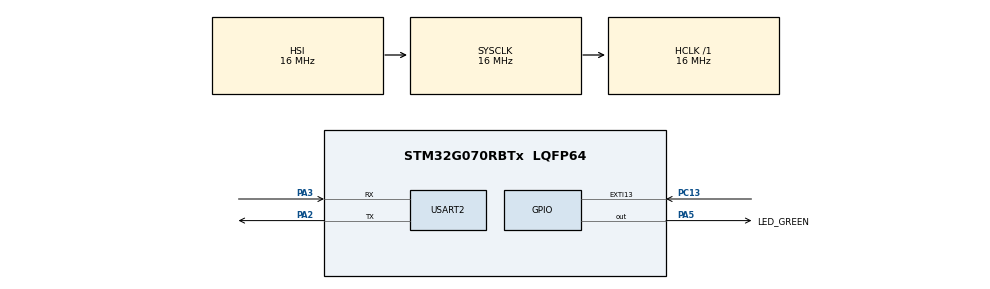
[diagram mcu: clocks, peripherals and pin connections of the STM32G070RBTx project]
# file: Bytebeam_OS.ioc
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Mcu.Family=STM32G0
Mcu.Name=STM32G070RBTx
Mcu.Package=LQFP64
NVIC.EXTI4_15_IRQn=true\:0\:0\:false\:false\:true\:true\:true\:true
PA13.GPIO_Label=TMS
PA13.Mode=Serial_Wire
PA13.Signal=SYS_SWDIO
PA14-BOOT0.GPIO_Label=TCK
PA14-BOOT0.Mode=Serial_Wire
PA14-BOOT0.Signal=SYS_SWCLK
PA2.GPIO_PuPd=GPIO_PULLUP
PA2.Mode=Asynchronous
PA2.Signal=USART2_TX
PA3.GPIO_PuPd=GPIO_PULLUP
PA3.Mode=Asynchronous
PA3.Signal=USART2_RX
PA5.GPIO_Label=LED_GREEN
PA5.GPIO_Speed=GPIO_SPEED_FREQ_HIGH
PA5.Signal=GPIO_Output
PC13.GPIO_ModeDefaultEXTI=GPIO_MODE_IT_FALLING
PC13.Signal=GPXTI13
PC14-OSC32_IN\ (PC14).Mode=LSE-External-Oscillator
PC14-OSC32_IN\ (PC14).Signal=RCC_OSC32_IN
PC15-OSC32_OUT\ (PC15).Mode=LSE-External-Oscillator
PC15-OSC32_OUT\ (PC15).Signal=RCC_OSC32_OUT
PF0-OSC_IN\ (PF0).GPIO_Label=MCO
PF0-OSC_IN\ (PF0).Mode=HSE-External-Clock-Source
PF0-OSC_IN\ (PF0).Signal=RCC_OSC_IN
ProjectManager.HeapSize=0x200
ProjectManager.StackSize=0x400
ProjectManager.TargetToolchain=STM32CubeIDE
RCC.AHBFreq_Value=16000000
RCC.CortexFreq_Value=16000000
RCC.EXTERNAL_CLOCK_VALUE=12288000
RCC.HCLKFreq_Value=16000000
RCC.HSE_VALUE=8000000
RCC.HSI_VALUE=16000000
RCC.SYSCLKFreq_VALUE=16000000
RCC.VCOOutputFreq_Value=128000000
USART2.VirtualMode-Asynchronous=VM_ASYNC
USART2.WordLength=WORDLENGTH_8B
board=NUCLEO-G070RB

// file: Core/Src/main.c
/* USER CODE BEGIN Header */
/**
  ******************************************************************************
  * @file           : main.c
  * @brief          : Main program body
  ******************************************************************************
  * @attention
  *
  * Copyright (c) 2026 STMicroelectronics.
  * All rights reserved.
  *
  * This software is licensed under terms that can be found in the LICENSE file
  * in the root directory of this software component.
  * If no LICENSE file comes with this software, it is provided AS-IS.
  *
  ******************************************************************************
  */
/* USER CODE END Header */
#include "main.h"

/* USER CODE BEGIN Includes */
#include "app_tasks.h"
#include "os_sem.h"
#include "os_mq.h"
#include "os_tick.h"
#include <string.h>
/* USER CODE END Includes */

UART_HandleTypeDef huart2;

void SystemClock_Config(void);
static void MX_GPIO_Init(void);
static void MX_USART2_UART_Init(void);

/* USER CODE BEGIN 0 */
static uint8_t rx_char; //Stores one received character.
static char rx_buffer[32];
static uint8_t rx_index = 0;
/* USER CODE END 0 */

int main(void)
{

  /* MCU Configuration--------------------------------------------------------*/

  /* Reset of all peripherals, Initializes the Flash interface and the Systick. */
  HAL_Init();

  /* Configure the system clock */
  SystemClock_Config();

  /* Initialize all configured peripherals */
  MX_GPIO_Init();
  MX_USART2_UART_Init();
  /* USER CODE BEGIN 2 */
  os_init();
  os_tickInit();
  App_TasksInit();

  HAL_UART_Receive_IT(&huart2, &rx_char, 1); //Receive 1 byte using interrupt mode.
  os_start();
  /* USER CODE END 2 */

  /* Infinite loop */
  while (1)
  {

  }
}

void SystemClock_Config(void)
{
  RCC_OscInitTypeDef RCC_OscInitStruct = {0};
  RCC_ClkInitTypeDef RCC_ClkInitStruct = {0};

  /** Configure the main internal regulator output voltage
  */
  HAL_PWREx_ControlVoltageScaling(PWR_REGULATOR_VOLTAGE_SCALE1);

  /** Initializes the RCC Oscillators according to the specified parameters
  * in the RCC_OscInitTypeDef structure.
  */
  RCC_OscInitStruct.OscillatorType = RCC_OSCILLATORTYPE_HSI;
  RCC_OscInitStruct.HSIState = RCC_HSI_ON;
  RCC_OscInitStruct.HSIDiv = RCC_HSI_DIV1;
  RCC_OscInitStruct.HSICalibrationValue = RCC_HSICALIBRATION_DEFAULT;
  RCC_OscInitStruct.PLL.PLLState = RCC_PLL_NONE;
  if (HAL_RCC_OscConfig(&RCC_OscInitStruct) != HAL_OK)
  {
    Error_Handler();
  }

  /** Initializes the CPU, AHB and APB buses clocks
  */
  RCC_ClkInitStruct.ClockType = RCC_CLOCKTYPE_HCLK|RCC_CLOCKTYPE_SYSCLK
                              |RCC_CLOCKTYPE_PCLK1;
  RCC_ClkInitStruct.SYSCLKSource = RCC_SYSCLKSOURCE_HSI;
  RCC_ClkInitStruct.AHBCLKDivider = RCC_SYSCLK_DIV1;
  RCC_ClkInitStruct.APB1CLKDivider = RCC_HCLK_DIV1;

  if (HAL_RCC_ClockConfig(&RCC_ClkInitStruct, FLASH_LATENCY_0) != HAL_OK)
  {
    Error_Handler();
  }
}

static void MX_USART2_UART_Init(void)
{

  huart2.Instance = USART2;
  huart2.Init.BaudRate = 115200;
  huart2.Init.WordLength = UART_WORDLENGTH_8B;
  huart2.Init.StopBits = UART_STOPBITS_1;
  huart2.Init.Parity = UART_PARITY_NONE;
  huart2.Init.Mode = UART_MODE_TX_RX;
  huart2.Init.HwFlowCtl = UART_HWCONTROL_NONE;
  huart2.Init.OverSampling = UART_OVERSAMPLING_16;
  huart2.Init.OneBitSampling = UART_ONE_BIT_SAMPLE_DISABLE;
  huart2.Init.ClockPrescaler = UART_PRESCALER_DIV1;
  huart2.AdvancedInit.AdvFeatureInit = UART_ADVFEATURE_NO_INIT;
  if (HAL_UART_Init(&huart2) != HAL_OK)
  {
    Error_Handler();
  }
  if (HAL_UARTEx_SetTxFifoThreshold(&huart2, UART_TXFIFO_THRESHOLD_1_8) != HAL_OK)
  {
    Error_Handler();
  }
  if (HAL_UARTEx_SetRxFifoThreshold(&huart2, UART_RXFIFO_THRESHOLD_1_8) != HAL_OK)
  {
    Error_Handler();
  }
  if (HAL_UARTEx_DisableFifoMode(&huart2) != HAL_OK)
  {
    Error_Handler();
  }
  /* USER CODE BEGIN USART2_Init 2 */
  HAL_NVIC_SetPriority(USART2_IRQn, 1, 0);
  HAL_NVIC_EnableIRQ(USART2_IRQn);
  /* USER CODE END USART2_Init 2 */

}

static void MX_GPIO_Init(void)
{
  GPIO_InitTypeDef GPIO_InitStruct = {0};

  /* GPIO Ports Clock Enable */
  __HAL_RCC_GPIOC_CLK_ENABLE();
  __HAL_RCC_GPIOF_CLK_ENABLE();
  __HAL_RCC_GPIOA_CLK_ENABLE();

  /*Configure GPIO pin Output Level */
  HAL_GPIO_WritePin(LED_GREEN_GPIO_Port, LED_GREEN_Pin, GPIO_PIN_RESET);

  /*Configure GPIO pin : PC13 */
  GPIO_InitStruct.Pin = GPIO_PIN_13;
  GPIO_InitStruct.Mode = GPIO_MODE_IT_FALLING;
  GPIO_InitStruct.Pull = GPIO_NOPULL;
  HAL_GPIO_Init(GPIOC, &GPIO_InitStruct);

  /*Configure GPIO pin : LED_GREEN_Pin */
  GPIO_InitStruct.Pin = LED_GREEN_Pin;
  GPIO_InitStruct.Mode = GPIO_MODE_OUTPUT_PP;
  GPIO_InitStruct.Pull = GPIO_NOPULL;
  GPIO_InitStruct.Speed = GPIO_SPEED_FREQ_HIGH;
  HAL_GPIO_Init(LED_GREEN_GPIO_Port, &GPIO_InitStruct);

  /* EXTI interrupt init*/
  HAL_NVIC_SetPriority(EXTI4_15_IRQn, 0, 0);
  HAL_NVIC_EnableIRQ(EXTI4_15_IRQn);

  /* USER CODE BEGIN MX_GPIO_Init_2 */
  HAL_NVIC_SetPriority(EXTI4_15_IRQn, 1, 0);
  HAL_NVIC_EnableIRQ(EXTI4_15_IRQn);
  /* USER CODE END MX_GPIO_Init_2 */
}

/* USER CODE BEGIN 4 */
void HAL_GPIO_EXTI_Falling_Callback(uint16_t GPIO_Pin) //Called automatically when button pressed
{
    if(GPIO_Pin == GPIO_PIN_13)
    {
        os_sem_signal(&sensor_sem); //Signal Sensor_Task when button is pressed
    }
}

void HAL_UART_RxCpltCallback(UART_HandleTypeDef *huart) //Runs every time one byte arrives.
{
    if(huart->Instance == USART2)
    {
        if(rx_char == '\r' || rx_char == '\n')
        {
            os_msg_t msg;

            rx_buffer[rx_index] = '\0';

            msg.type = MSG_TYPE_UART_COMMAND;

            strncpy(msg.payload,
                    rx_buffer,
                    sizeof(msg.payload) - 1);

            msg.payload[sizeof(msg.payload) - 1] = '\0';

            os_mq_send(&uart_queue, &msg);

            rx_index = 0;

            memset(rx_buffer, //clear old data
                   0,
                   sizeof(rx_buffer));
        }
        else
        {
            if(rx_index < sizeof(rx_buffer) - 1)
            {
                rx_buffer[rx_index++] = (char)rx_char;
            }
        }

        HAL_UART_Receive_IT(&huart2,
                            &rx_char,
                            1);
    }
}

/* USER CODE END 4 */

void Error_Handler(void)
{
  __disable_irq();
  while (1)
  {
  }
}
